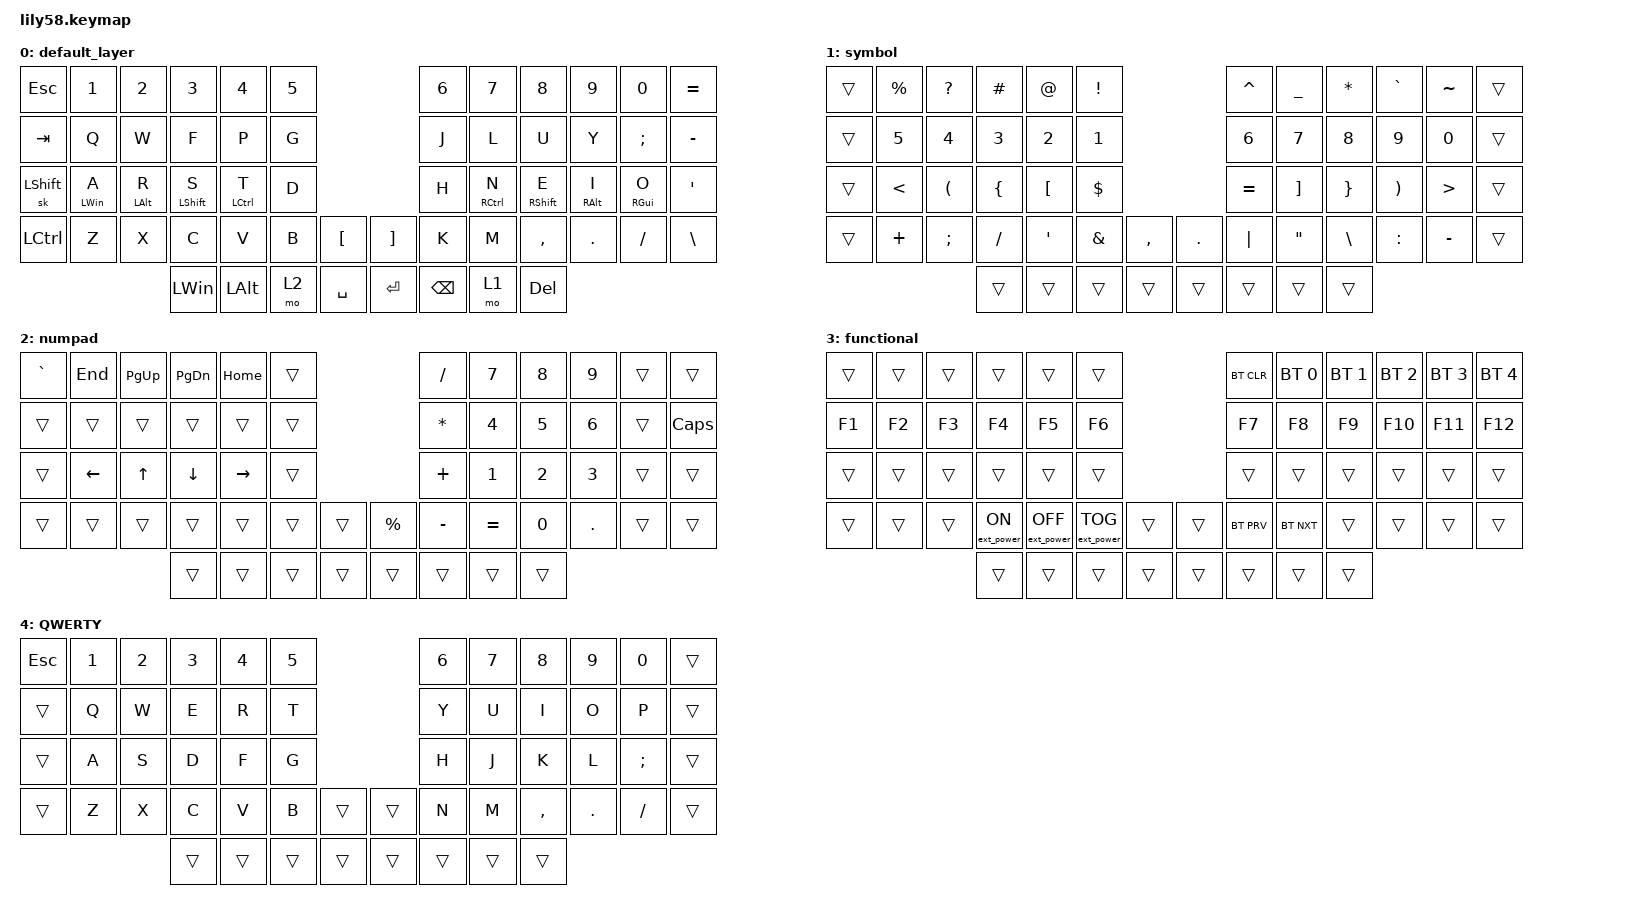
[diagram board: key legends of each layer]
/*
 * Copyright (c) 2020 The ZMK Contributors
 *
 * SPDX-License-Identifier: MIT
 */

#include <behaviors.dtsi>
#include <dt-bindings/zmk/bt.h>
#include <dt-bindings/zmk/ext_power.h>
#include <dt-bindings/zmk/keys.h>

/ {
    behaviors {
        ht_left: ht_left {
            compatible = "zmk,behavior-hold-tap";
            label = "HT_LEFT";
            bindings = <&kp>, <&kp>;

            #binding-cells = <2>;
            tapping-term-ms = <225>;
            hold-trigger-key-positions = <6 7 8 9 10 11 18 19 20 21 22 23 30 31 32 33 34 35 43 44 45 46 47 48 49 54 55 56 57>;
            flavor = "tap-preferred";
        };

        ht_right: ht_right {
            compatible = "zmk,behavior-hold-tap";
            label = "HT_RIGHT";
            bindings = <&kp>, <&kp>;

            #binding-cells = <2>;
            tapping-term-ms = <225>;
            flavor = "tap-preferred";
            hold-trigger-key-positions = <0 1 2 3 4 5 12 13 14 15 16 17 24 25 26 27 28 29 36 37 38 39 40 41 42 50 51 52 53>;
        };

        ht_left_delay: ht_left_delay {
            compatible = "zmk,behavior-hold-tap";
            label = "HT_LEFT_DELAY";
            bindings = <&kp>, <&kp>;

            #binding-cells = <2>;
            tapping-term-ms = <275>;
            hold-trigger-key-positions = <6 7 8 9 10 11 18 19 20 21 22 23 30 31 32 33 34 35 43 44 45 46 47 48 49 54 55 56 57>;
            flavor = "tap-preferred";
        };

        ht_right_delay: ht_right_delay {
            compatible = "zmk,behavior-hold-tap";
            label = "HT_RIGHT_DELAY";
            bindings = <&kp>, <&kp>;

            #binding-cells = <2>;
            tapping-term-ms = <275>;
            flavor = "tap-preferred";
            hold-trigger-key-positions = <0 1 2 3 4 5 12 13 14 15 16 17 24 25 26 27 28 29 36 37 38 39 40 41 42 50 51 52 53>;
        };
    };

    keymap {
        compatible = "zmk,keymap";

        default_layer {
            // ------------------------------------------------------------------------------------------------------------
            // |  ESC  |  1  |  2  |  3   |  4   |  5   |                   |  6   |  7    |  8    |  9   |   0   |   =+  |
            // |  TAB  |  Q  |  W  |  E   |  R   |  T   |                   |  Y   |  U    |  I    |  O   |   P   |   -   |
            // | SHIFT |  A  |  S  |  D   |  F   |  G   |                   |  H   |  J    |  K    |  L   |   ;   |   '   |
            // |  CTRL |  Z  |  X  |  C   |  V   |  B   |   "["  |  |  "]"  |  N   |  M    |  ,    |  .   |   /   |   \   |
            //                     | LOWER|  GUI | ALT  |  SPACE |  | ENTER | RAISE| BSPC  | DEL   |

            bindings = <
&kp ESC           &kp N1                     &kp N2                     &kp N3                 &kp N4            &kp N5                         &kp N6         &kp N7             &kp N8                   &kp N9                       &kp N0                       &kp EQUAL
&kp TAB           &kp Q                      &kp W                      &kp F                  &kp P             &kp G                          &kp J          &kp L              &kp U                    &kp Y                        &kp SEMICOLON                &kp MINUS
&sk LEFT_SHIFT    &ht_left_delay LEFT_WIN A  &ht_left_delay LEFT_ALT R  &ht_left LEFT_SHIFT S  &ht_left LCTRL T  &kp D                          &kp H          &ht_right RCTRL N  &ht_right RIGHT_SHIFT E  &ht_right_delay RIGHT_ALT I  &ht_right_delay RIGHT_GUI O  &kp SQT
&kp LEFT_CONTROL  &kp Z                      &kp X                      &kp C                  &kp V             &kp B   &kp LBKT     &kp RBKT  &kp K          &kp M              &kp COMMA                &kp DOT                      &kp FSLH                     &kp BSLH
                                                                        &kp LEFT_WIN           &kp LEFT_ALT      &mo 2   &kp SPACE    &kp RET   &kp BACKSPACE  &mo 1              &kp DELETE
            >;
        };

        symbol {
            bindings = <
&trans  &kp PERCENT    &kp QUESTION          &kp HASH        &kp AT_SIGN       &kp EXCLAMATION                        &kp CARET     &kp UNDERSCORE     &kp ASTRK        &kp GRAVE              &kp TILDE         &trans
&trans  &kp NUMBER_5   &kp NUMBER_4          &kp NUMBER_3    &kp NUMBER_2      &kp NUMBER_1                           &kp NUMBER_6  &kp NUMBER_7       &kp NUMBER_8     &kp NUMBER_9           &kp NUMBER_0      &trans
&trans  &kp LESS_THAN  &kp LEFT_PARENTHESIS  &kp LEFT_BRACE  &kp LBKT          &kp DOLLAR                             &kp EQUAL     &kp RBKT           &kp RIGHT_BRACE  &kp RIGHT_PARENTHESIS  &kp GREATER_THAN  &trans
&trans  &kp PLUS       &kp SEMICOLON         &kp SLASH       &kp SINGLE_QUOTE  &kp AMPERSAND    &kp COMMA    &kp DOT  &kp PIPE      &kp DOUBLE_QUOTES  &kp BSLH         &kp COLON              &kp MINUS         &trans
                                             &trans          &trans            &trans           &trans       &trans   &trans        &trans             &trans
            >;
        };

        numpad {
            bindings = <
&kp GRAVE  &kp END   &kp PAGE_UP   &kp PAGE_DOWN   &kp HOME         &trans                         &kp SLASH     &kp NUMBER_7  &kp NUMBER_8  &kp N9        &trans  &trans
&trans     &trans    &trans        &trans          &trans           &trans                         &kp ASTERISK  &kp NUMBER_4  &kp NUMBER_5  &kp NUMBER_6  &trans  &kp CAPSLOCK
&trans     &kp LEFT  &kp UP_ARROW  &kp DOWN_ARROW  &kp RIGHT_ARROW  &trans                         &kp PLUS      &kp NUMBER_1  &kp NUMBER_2  &kp NUMBER_3  &trans  &trans
&trans     &trans    &trans        &trans          &trans           &trans  &trans    &kp PERCENT  &kp MINUS     &kp EQUAL     &kp NUMBER_0  &kp DOT       &trans  &trans
                                   &trans          &trans           &trans  &trans    &trans       &trans        &trans        &trans
            >;
        };

        functional {
            bindings = <
&trans  &trans  &trans  &trans            &trans             &trans                               &bt BT_CLR  &bt BT_SEL 0  &bt BT_SEL 1  &bt BT_SEL 2  &bt BT_SEL 3  &bt BT_SEL 4
&kp F1  &kp F2  &kp F3  &kp F4            &kp F5             &kp F6                               &kp F7      &kp F8        &kp F9        &kp F10       &kp F11       &kp F12
&trans  &trans  &trans  &trans            &trans             &trans                               &trans      &trans        &trans        &trans        &trans        &trans
&trans  &trans  &trans  &ext_power EP_ON  &ext_power EP_OFF  &ext_power EP_TOG  &trans    &trans  &bt BT_PRV  &bt BT_NXT    &trans        &trans        &trans        &trans
                        &trans            &trans             &trans             &trans    &trans  &trans      &trans        &trans
            >;
        };

        QWERTY {
            bindings = <
&kp ESC  &kp NUMBER_1  &kp NUMBER_2  &kp NUMBER_3  &kp NUMBER_4  &kp NUMBER_5                    &kp NUMBER_6  &kp NUMBER_7  &kp NUMBER_8  &kp NUMBER_9  &kp NUMBER_0   &trans
&trans   &kp Q         &kp W         &kp E         &kp R         &kp T                           &kp Y         &kp U         &kp I         &kp O         &kp P          &trans
&trans   &kp A         &kp S         &kp D         &kp F         &kp G                           &kp H         &kp J         &kp K         &kp L         &kp SEMICOLON  &trans
&trans   &kp Z         &kp X         &kp C         &kp V         &kp B         &trans    &trans  &kp N         &kp M         &kp COMMA     &kp PERIOD    &kp SLASH      &trans
                                     &trans        &trans        &trans        &trans    &trans  &trans        &trans        &trans
            >;
        };
    };

    conditional_layers {
        compatible = "zmk,conditional-layers";

        functional_layer {
            if-layers = <1 2>;
            then-layer = <3>;
        };
    };
};
